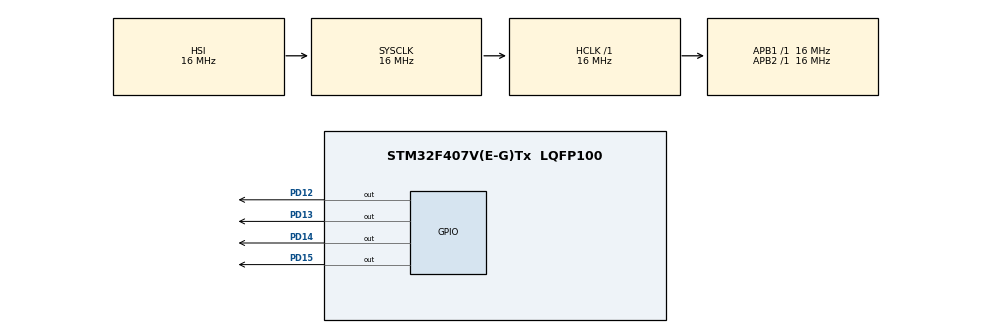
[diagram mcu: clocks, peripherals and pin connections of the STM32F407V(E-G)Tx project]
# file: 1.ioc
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Mcu.Family=STM32F4
Mcu.Name=STM32F407V(E-G)Tx
Mcu.Package=LQFP100
NVIC.PriorityGroup=NVIC_PRIORITYGROUP_4
PD12.Signal=GPIO_Output
PD13.PinState=GPIO_PIN_RESET
PD13.Signal=GPIO_Output
PD14.Signal=GPIO_Output
PD15.Signal=GPIO_Output
ProjectManager.HeapSize=0x200
ProjectManager.StackSize=0x400
ProjectManager.TargetToolchain=STM32CubeIDE
RCC.AHBFreq_Value=16000000
RCC.APB1Freq_Value=16000000
RCC.APB2Freq_Value=16000000
RCC.CortexFreq_Value=16000000
RCC.HSE_VALUE=25000000
RCC.HSI_VALUE=16000000
RCC.LSE_VALUE=32768
RCC.SYSCLKFreq_VALUE=16000000
RCC.VCOOutputFreq_Value=192000000
board=custom

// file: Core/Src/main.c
/* USER CODE BEGIN Header */
/**
  ******************************************************************************
  * @file           : main.c
  * @brief          : Main program body
  ******************************************************************************
  * @attention
  *
  * <h2><center>&copy; Copyright (c) 2021 STMicroelectronics.
  * All rights reserved.</center></h2>
  *
  * This software component is licensed by ST under BSD 3-Clause license,
  * the "License"; You may not use this file except in compliance with the
  * License. You may obtain a copy of the License at:
  *                        opensource.org/licenses/BSD-3-Clause
  *
  ******************************************************************************
  */
/* USER CODE END Header */
#include "main.h"

void SystemClock_Config(void);
static void MX_GPIO_Init(void);

int main(void)
{
  /* USER CODE BEGIN 1 */
	uint16_t pin[4] = {GPIO_PIN_12, GPIO_PIN_13, GPIO_PIN_14, GPIO_PIN_15};

  /* USER CODE END 1 */

  /* MCU Configuration--------------------------------------------------------*/

  /* Reset of all peripherals, Initializes the Flash interface and the Systick. */
  HAL_Init();

  /* Configure the system clock */
  SystemClock_Config();

  /* Initialize all configured peripherals */
  MX_GPIO_Init();

  /* Infinite loop */
  /* USER CODE BEGIN WHILE */
  while (1)
  {
	  for (int8_t i = 3; i >= 0; i--) {
		  for (int8_t j = 0; j < i; j++) {
			  HAL_GPIO_WritePin(GPIOD, pin[j], GPIO_PIN_SET);
			  HAL_Delay(150);
			  HAL_GPIO_WritePin(GPIOD, pin[j], GPIO_PIN_RESET);
			  HAL_Delay(150);
		  }
		  HAL_GPIO_WritePin(GPIOD, pin[i], GPIO_PIN_SET);
		  HAL_Delay(150);

	  }
	  for (int8_t i = 3; i >= 0; i--) {
		  for (int8_t j = 0; j < i; j++) {
			  HAL_GPIO_WritePin(GPIOD, pin[j], GPIO_PIN_RESET);
			  HAL_Delay(150);
			  HAL_GPIO_WritePin(GPIOD, pin[j], GPIO_PIN_SET);
			  HAL_Delay(150);
		  }
		  HAL_GPIO_WritePin(GPIOD, pin[i], GPIO_PIN_RESET);
		  HAL_Delay(150);

	  }

    /* USER CODE END WHILE */
  }
}

void SystemClock_Config(void)
{
  RCC_OscInitTypeDef RCC_OscInitStruct = {0};
  RCC_ClkInitTypeDef RCC_ClkInitStruct = {0};

  /** Configure the main internal regulator output voltage
  */
  __HAL_RCC_PWR_CLK_ENABLE();
  __HAL_PWR_VOLTAGESCALING_CONFIG(PWR_REGULATOR_VOLTAGE_SCALE1);
  /** Initializes the RCC Oscillators according to the specified parameters
  * in the RCC_OscInitTypeDef structure.
  */
  RCC_OscInitStruct.OscillatorType = RCC_OSCILLATORTYPE_HSI;
  RCC_OscInitStruct.HSIState = RCC_HSI_ON;
  RCC_OscInitStruct.HSICalibrationValue = RCC_HSICALIBRATION_DEFAULT;
  RCC_OscInitStruct.PLL.PLLState = RCC_PLL_NONE;
  if (HAL_RCC_OscConfig(&RCC_OscInitStruct) != HAL_OK)
  {
    Error_Handler();
  }
  /** Initializes the CPU, AHB and APB buses clocks
  */
  RCC_ClkInitStruct.ClockType = RCC_CLOCKTYPE_HCLK|RCC_CLOCKTYPE_SYSCLK
                              |RCC_CLOCKTYPE_PCLK1|RCC_CLOCKTYPE_PCLK2;
  RCC_ClkInitStruct.SYSCLKSource = RCC_SYSCLKSOURCE_HSI;
  RCC_ClkInitStruct.AHBCLKDivider = RCC_SYSCLK_DIV1;
  RCC_ClkInitStruct.APB1CLKDivider = RCC_HCLK_DIV1;
  RCC_ClkInitStruct.APB2CLKDivider = RCC_HCLK_DIV1;

  if (HAL_RCC_ClockConfig(&RCC_ClkInitStruct, FLASH_LATENCY_0) != HAL_OK)
  {
    Error_Handler();
  }
}

static void MX_GPIO_Init(void)
{
  GPIO_InitTypeDef GPIO_InitStruct = {0};

  /* GPIO Ports Clock Enable */
  __HAL_RCC_GPIOD_CLK_ENABLE();

  /*Configure GPIO pin Output Level */
  HAL_GPIO_WritePin(GPIOD, GPIO_PIN_12|GPIO_PIN_13|GPIO_PIN_14|GPIO_PIN_15, GPIO_PIN_RESET);

  /*Configure GPIO pins : PD12 PD13 PD14 PD15 */
  GPIO_InitStruct.Pin = GPIO_PIN_12|GPIO_PIN_13|GPIO_PIN_14|GPIO_PIN_15;
  GPIO_InitStruct.Mode = GPIO_MODE_OUTPUT_PP;
  GPIO_InitStruct.Pull = GPIO_NOPULL;
  GPIO_InitStruct.Speed = GPIO_SPEED_FREQ_LOW;
  HAL_GPIO_Init(GPIOD, &GPIO_InitStruct);

}

void Error_Handler(void)
{
  __disable_irq();
  while (1)
  {
  }
}

/************************ (C) COPYRIGHT STMicroelectronics *****END OF FILE****/
